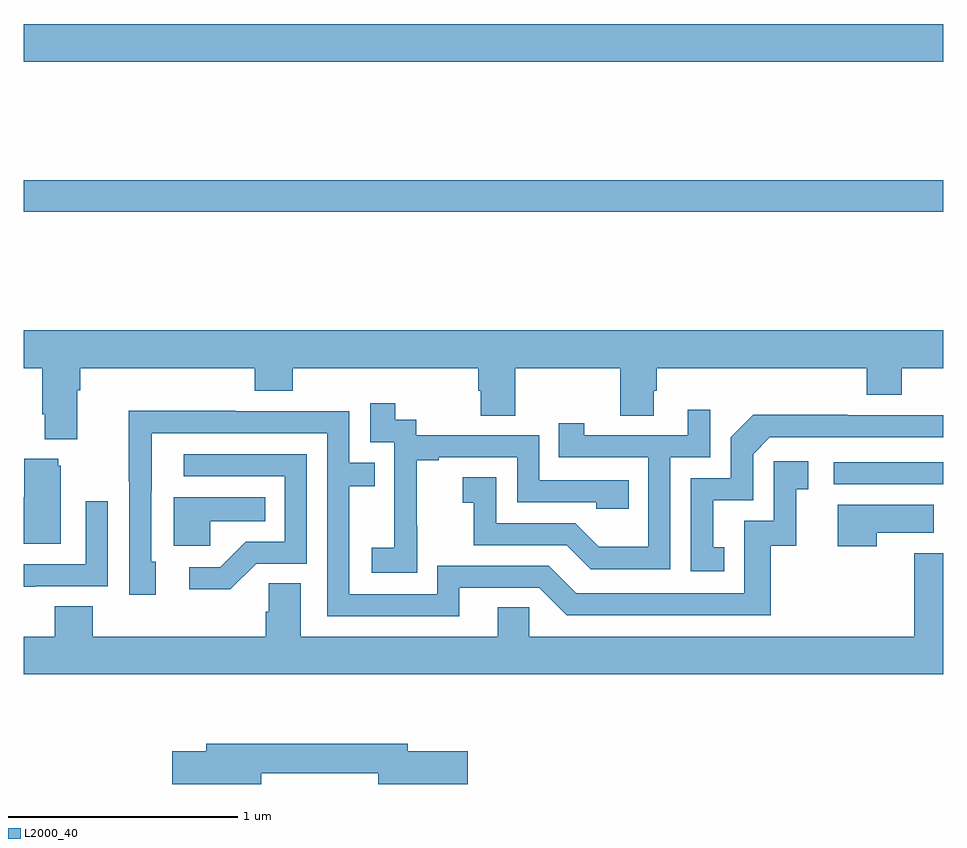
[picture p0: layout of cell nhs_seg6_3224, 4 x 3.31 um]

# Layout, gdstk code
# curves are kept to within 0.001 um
import gdstk
lib = gdstk.Library(unit=1e-6, precision=1e-09)
def R(c, l, rs):  # rectangles x0, y0, x1, y1
    for r in rs: c.add(gdstk.rectangle(r[:2], r[2:], *l))
def P(c, l, *ps):  # polygons
    for p in ps: c.add(gdstk.Polygon(p, *l))
L2000_40 = (2000, 40)

nhs_seg6_3224 = lib.new_cell('nhs_seg6_3224')
R(nhs_seg6_3224, L2000_40, [(302.523,993.45,303,993.546), (299,994.636,303,994.772), (299,995.288,303,995.452)])
P(nhs_seg6_3224, L2000_40, [(299.233,993.86),(299.246,993.86),(299.246,993.956),(300.005,993.956),(300.005,993.857),(300.17,993.857),(300.17,993.956),(300.977,993.956),(300.977,993.858),(300.989,993.858),(300.989,993.748),(301.137,993.748),(301.137,993.956),(301.594,993.956),(301.594,993.748),(301.741,993.748),(301.741,993.858),(301.754,993.858),(301.754,993.956),(302.666,993.956),(302.666,993.839),(302.818,993.839),(302.818,993.956),(303,993.956),(303,994.12),(299,994.12),(299,993.956),(299.081,993.956),(299.081,993.754),(299.093,993.754),(299.093,993.647),(299.233,993.647)],
  [(300.711,993.271),(300.71,993.271),(300.71,993.555),(300.805,993.555),(300.805,993.567),(301.146,993.567),(301.146,993.372),(301.491,993.372),(301.491,993.345),(301.631,993.345),(301.631,993.468),(301.242,993.468),(301.242,993.663),(300.708,993.663),(300.708,993.732),(300.616,993.732),(300.616,993.802),(300.507,993.802),(300.507,993.633),(300.612,993.633),(300.612,993.404),(300.611,993.404),(300.611,993.175),(300.513,993.175),(300.513,993.065),(300.711,993.065)],
  [(301.812,993.567),(301.986,993.567),(301.986,993.775),(301.889,993.775),(301.889,993.663),(301.438,993.663),(301.438,993.715),(301.327,993.715),(301.327,993.567),(301.716,993.567),(301.716,993.178),(301.502,993.178),(301.398,993.282),(301.056,993.282),(301.056,993.481),(300.909,993.481),(300.909,993.371),(300.958,993.371),(300.958,993.186),(301.361,993.186),(301.466,993.081),(301.812,993.081)],
  [(300.895,993),(301.242,993),(301.362,992.88),(302.249,992.88),(302.249,993.183),(302.36,993.183),(302.36,993.429),(302.413,993.429),(302.413,993.55),(302.262,993.55),(302.262,993.291),(302.133,993.291),(302.133,992.976),(301.404,992.976),(301.284,993.096),(300.798,993.096),(300.798,992.973),(300.417,992.973),(300.417,993.442),(300.527,993.442),(300.527,993.543),(300.417,993.543),(300.417,993.768),(299.921,993.768),(299.921,993.77),(299.458,993.77),(299.458,993.463),(299.46,993.463),(299.46,992.97),(299.575,992.97),(299.575,993.114),(299.556,993.114),(299.557,993.672),(300.321,993.672),(300.321,992.877),(300.895,992.877)],
  [(302.048,993.177),(301.999,993.177),(301.999,993.381),(302.172,993.381),(302.172,993.582),(302.244,993.654),(303,993.654),(303,993.75),(302.582,993.75),(302.582,993.752),(302.174,993.752),(302.076,993.654),(302.076,993.477),(301.902,993.477),(301.902,993.072),(302.048,993.072)],
  [(300.012,993.105),(300.231,993.105),(300.231,993.582),(299.697,993.582),(299.697,993.486),(300.135,993.486),(300.135,993.201),(299.966,993.201),(299.855,993.09),(299.721,993.09),(299.721,992.993),(299.899,992.993)],
  [(299.161,993.531),(299.15,993.531),(299.15,993.562),(299.003,993.562),(299.003,993.394),(299,993.394),(299,993.191),(299.161,993.191)],
  [(299.811,993.29),(300.05,993.29),(300.05,993.394),(299.654,993.394),(299.654,993.182),(299.811,993.182)],
  [(299.051,993.006),(299.367,993.006),(299.367,993.376),(299.271,993.376),(299.271,993.102),(299,993.102),(299,993.005),(299.051,993.005)],
  [(302.711,993.239),(302.959,993.239),(302.959,993.361),(302.54,993.361),(302.54,993.18),(302.711,993.18)],
  [(303,993.151),(302.873,993.151),(302.873,992.788),(301.2,992.788),(301.2,992.915),(301.061,992.915),(301.061,992.788),(300.205,992.788),(300.205,993.02),(300.066,993.02),(300.066,992.897),(300.053,992.897),(300.053,992.788),(299.3,992.788),(299.3,992.921),(299.135,992.921),(299.135,992.788),(299,992.788),(299,992.624),(303,992.624)],
  [(300.034,992.194),(300.542,992.194),(300.542,992.147),(300.931,992.147),(300.931,992.289),(300.67,992.289),(300.67,992.323),(299.795,992.323),(299.795,992.289),(299.646,992.289),(299.646,992.147),(300.034,992.147)])

lib.write_gds('nhs_seg6_3224.gds')
